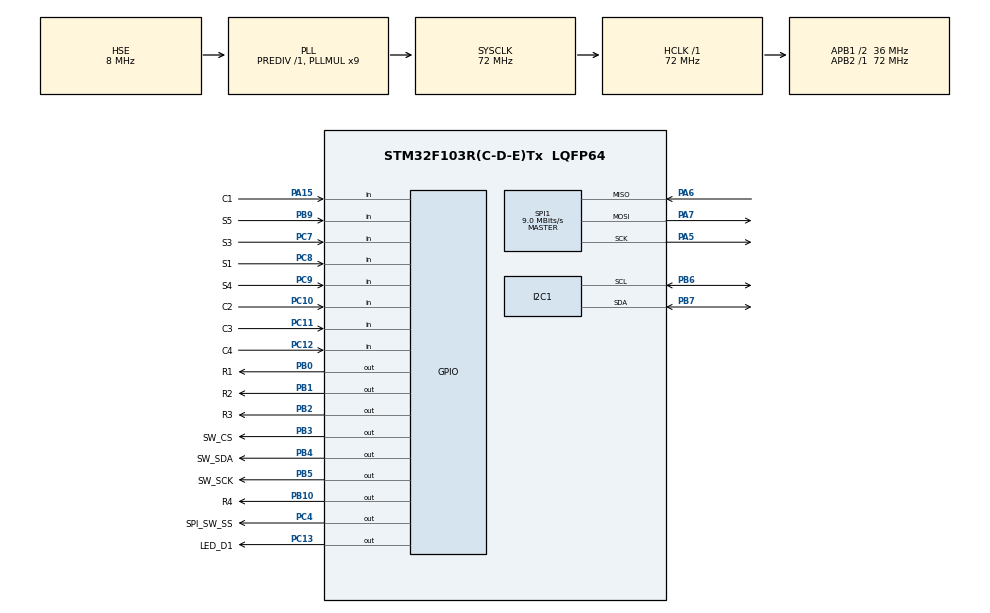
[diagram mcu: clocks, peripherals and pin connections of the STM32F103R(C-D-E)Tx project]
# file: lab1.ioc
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Mcu.Family=STM32F1
Mcu.Name=STM32F103R(C-D-E)Tx
Mcu.Package=LQFP64
NVIC.PriorityGroup=NVIC_PRIORITYGROUP_4
NVIC.TIM2_IRQn=true\:1\:0\:true\:false\:true\:true\:true\:true
NVIC.TIM3_IRQn=true\:0\:0\:false\:false\:true\:true\:true\:true
NVIC.TIM5_IRQn=true\:0\:0\:false\:false\:true\:true\:true\:true
PA13.Mode=Serial_Wire
PA13.Signal=SYS_JTMS-SWDIO
PA14.Mode=Serial_Wire
PA14.Signal=SYS_JTCK-SWCLK
PA15.GPIO_Label=C1
PA15.Signal=GPIO_Input
PA5.Mode=Full_Duplex_Master
PA5.Signal=SPI1_SCK
PA6.Mode=Full_Duplex_Master
PA6.Signal=SPI1_MISO
PA7.Mode=Full_Duplex_Master
PA7.Signal=SPI1_MOSI
PB0.GPIO_Label=R1
PB0.Signal=GPIO_Output
PB1.GPIO_Label=R2
PB1.Signal=GPIO_Output
PB10.GPIO_Label=R4
PB10.Signal=GPIO_Output
PB2.GPIO_Label=R3
PB2.Signal=GPIO_Output
PB3.GPIO_Label=SW_CS
PB3.Signal=GPIO_Output
PB4.GPIO_Label=SW_SDA
PB4.Signal=GPIO_Output
PB5.GPIO_Label=SW_SCK
PB5.Signal=GPIO_Output
PB6.Mode=I2C
PB6.Signal=I2C1_SCL
PB7.Mode=I2C
PB7.Signal=I2C1_SDA
PB9.GPIO_Label=S5
PB9.Signal=GPIO_Input
PC10.GPIO_Label=C2
PC10.Signal=GPIO_Input
PC11.GPIO_Label=C3
PC11.Signal=GPIO_Input
PC12.GPIO_Label=C4
PC12.Signal=GPIO_Input
PC13-TAMPER-RTC.GPIO_Label=LED_D1
PC13-TAMPER-RTC.Signal=GPIO_Output
PC4.GPIO_Label=SPI_SW_SS
PC4.Signal=GPIO_Output
PC7.GPIO_Label=S3
PC7.Signal=GPIO_Input
PC8.GPIO_Label=S1
PC8.Signal=GPIO_Input
PC9.GPIO_Label=S4
PC9.Signal=GPIO_Input
PD0-OSC_IN.Mode=HSE-External-Oscillator
PD0-OSC_IN.Signal=RCC_OSC_IN
PD1-OSC_OUT.Mode=HSE-External-Oscillator
PD1-OSC_OUT.Signal=RCC_OSC_OUT
ProjectManager.HeapSize=0x200
ProjectManager.StackSize=0x400
ProjectManager.TargetToolchain=MDK-ARM V5.32
RCC.AHBFreq_Value=72000000
RCC.APB1CLKDivider=RCC_HCLK_DIV2
RCC.APB1Freq_Value=36000000
RCC.APB1TimFreq_Value=72000000
RCC.APB2Freq_Value=72000000
RCC.APB2TimFreq_Value=72000000
RCC.HCLKFreq_Value=72000000
RCC.PLLMUL=RCC_PLL_MUL9
RCC.PLLSourceVirtual=RCC_PLLSOURCE_HSE
RCC.SYSCLKFreq_VALUE=72000000
RCC.SYSCLKSource=RCC_SYSCLKSOURCE_PLLCLK
RCC.USBFreq_Value=72000000
SPI1.BaudRatePrescaler=SPI_BAUDRATEPRESCALER_8
SPI1.CalculateBaudRate=9.0 MBits/s
SPI1.Direction=SPI_DIRECTION_2LINES
SPI1.Mode=SPI_MODE_MASTER
SPI1.VirtualType=VM_MASTER
TIM2.Period=7200
TIM2.Prescaler=10000
TIM3.Period=720
TIM3.Prescaler=10000
TIM5.Period=720
TIM5.Prescaler=10000
VP_TIM2_VS_ClockSourceINT.Mode=Internal
VP_TIM3_VS_ClockSourceINT.Mode=Internal
VP_TIM5_VS_ClockSourceINT.Mode=Internal
board=custom

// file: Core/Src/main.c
/* USER CODE BEGIN Header */
/**
  ******************************************************************************
  * @file           : main.c
  * @brief          : Main program body
  ******************************************************************************
  * @attention
  *
  * Copyright (c) 2025 STMicroelectronics.
  * All rights reserved.
  *
  * This software is licensed under terms that can be found in the LICENSE file
  * in the root directory of this software component.
  * If no LICENSE file comes with this software, it is provided AS-IS.
  *
  ******************************************************************************
  */
/* USER CODE END Header */
#include "main.h"
#include "i2c.h"
#include "spi.h"
#include "tim.h"
#include "gpio.h"

/* USER CODE BEGIN Includes */
#include "LED.h"
#include "sw_lcd.h"
#include "spi_lcd.h"
#include "i2c_oled.h"
#include "595driver.h"
#include "key.h"
#include "sw_keyboard.h"
#include "timer.h"
#include "tm1650.h"
/* USER CODE END Includes */

/* USER CODE BEGIN PD */
#define lab4
/* USER CODE END PD */

/* USER CODE BEGIN PV */
int key_current;
int key_history;
int s4_status = 0;
int s5_status = 0;
int clear_bits[5] = {0,0,0,0,0};
int lcd_flag = 0;
//extern int LED_status;
/* USER CODE END PV */

void SystemClock_Config(void);

int main(void)
{

  /* USER CODE BEGIN 1 */
  LED_status = 1;
  /* USER CODE END 1 */

  /* MCU Configuration--------------------------------------------------------*/

  /* Reset of all peripherals, Initializes the Flash interface and the Systick. */
  HAL_Init();

  /* Configure the system clock */
  SystemClock_Config();

  /* Initialize all configured peripherals */
  MX_GPIO_Init();
  MX_SPI1_Init();
  MX_TIM2_Init();
  MX_TIM5_Init();
  MX_TIM3_Init();
  MX_I2C1_Init();
  /* USER CODE BEGIN 2 */
	HAL_TIM_Base_Start_IT(&htim2);
	HAL_TIM_Base_Start_IT(&htim3);
	//HAL_TIM_Base_Start_IT(&htim5);

	//��ʼ������,��Ļ��
	OLED_Init();
	OLED_CLS();
	//
	LCE_init();
	HAL_GPIO_WritePin(GPIOC, GPIO_PIN_13, 1);
	OLED_LAB_DISP_name();   //display name & number
  TM1650_Init();
  TM1650_SetBrightness(5);
  /* USER CODE END 2 */

  /* Infinite loop */
  /* USER CODE BEGIN WHILE */
  while (1)
  {

    /*要求一
    #ifdef lab1
      key_current = key_scan();
    if(key_current != 0 && key_current != key_history){
			for(int k = 0;k < 5;k++){
				clear_bits[k] = 0;
			}
      key_history = key_current;
    }
      if(key_history == 0){
				if(!clear_bits[0])
					OLED_CLS();
			  OLED_LAB_DISP_name();
				clear_bits[0] = 1;
      }else if(key_history == 1){
        if(!clear_bits[1])
					OLED_CLS();
        s2_pressed();
				clear_bits[1] = 1;
      }else if(key_history == 2){
        if(!clear_bits[2])
					OLED_CLS();
        s3_pressed();
				clear_bits[2] = 1;
      }else if(key_history == 3){
        if(!clear_bits[3])
					OLED_CLS();
        s4_status = 1;
        s5_status = 0;
        OLED_ShowStr(0,0,"S4 pressed",2);
				clear_bits[3] = 1;
      }else if(key_history == 4){
        if(!clear_bits[4])
					OLED_CLS();
        s5_status = 1;
        s4_status = 0;
				clear_bits[4] = 1;
        OLED_ShowStr(0,0,"S5 pressed",2);
      }
    #endif
		*/
		 OLED_ShowStr(0,0,"timer",1);
		 OLED_ShowStr(0,3,"press 1-> start",1);
		 OLED_ShowStr(0,4,"press 2-> exit",1);
		 OLED_ShowStr(0,5,"press 3-> pause",1);
		 OLED_ShowStr(0,6,"press 4-> zero out",1);

    /* 下面是要求二*/
    scan_KeyBoard();
		if(lcd_flag)
			LAB2_request2();

    /*要求三*/
    uint8_t current_key = TM1650_ReadKey();
    if(current_key != 0){
      TM1650_DisplayKeyValue(current_key);
      HAL_Delay(50);
    }
    /*要求四*/
    #ifdef lab4

      timer(current_key);
    #endif

    /* USER CODE END WHILE */

  }
}

void SystemClock_Config(void)
{
  RCC_OscInitTypeDef RCC_OscInitStruct = {0};
  RCC_ClkInitTypeDef RCC_ClkInitStruct = {0};

  /** Initializes the RCC Oscillators according to the specified parameters
  * in the RCC_OscInitTypeDef structure.
  */
  RCC_OscInitStruct.OscillatorType = RCC_OSCILLATORTYPE_HSE;
  RCC_OscInitStruct.HSEState = RCC_HSE_ON;
  RCC_OscInitStruct.HSEPredivValue = RCC_HSE_PREDIV_DIV1;
  RCC_OscInitStruct.HSIState = RCC_HSI_ON;
  RCC_OscInitStruct.PLL.PLLState = RCC_PLL_ON;
  RCC_OscInitStruct.PLL.PLLSource = RCC_PLLSOURCE_HSE;
  RCC_OscInitStruct.PLL.PLLMUL = RCC_PLL_MUL9;
  if (HAL_RCC_OscConfig(&RCC_OscInitStruct) != HAL_OK)
  {
    Error_Handler();
  }

  /** Initializes the CPU, AHB and APB buses clocks
  */
  RCC_ClkInitStruct.ClockType = RCC_CLOCKTYPE_HCLK|RCC_CLOCKTYPE_SYSCLK
                              |RCC_CLOCKTYPE_PCLK1|RCC_CLOCKTYPE_PCLK2;
  RCC_ClkInitStruct.SYSCLKSource = RCC_SYSCLKSOURCE_PLLCLK;
  RCC_ClkInitStruct.AHBCLKDivider = RCC_SYSCLK_DIV1;
  RCC_ClkInitStruct.APB1CLKDivider = RCC_HCLK_DIV2;
  RCC_ClkInitStruct.APB2CLKDivider = RCC_HCLK_DIV1;

  if (HAL_RCC_ClockConfig(&RCC_ClkInitStruct, FLASH_LATENCY_2) != HAL_OK)
  {
    Error_Handler();
  }
}

/* USER CODE BEGIN 4 */
void HAL_TIM_PeriodElapsedCallback(TIM_HandleTypeDef *htim){
	if(htim == &htim2){
    if(s4_status == 1){
		HAL_GPIO_TogglePin(GPIOC, GPIO_PIN_13);
    }

	}
	if(htim == &htim3){
    if(s5_status == 1){
      HAL_GPIO_TogglePin(GPIOC, GPIO_PIN_13);
    }
    if(time > 1000000000){
      time = 0;
    }
    if(pause != 1){
      time += 0.1;
    }
 	}
	if(htim == &htim5){
		time595 += 1;
		time595 = time595 % 8;

	}
}
/* USER CODE END 4 */

void Error_Handler(void)
{
  __disable_irq();
  while (1)
  {
  }
}
